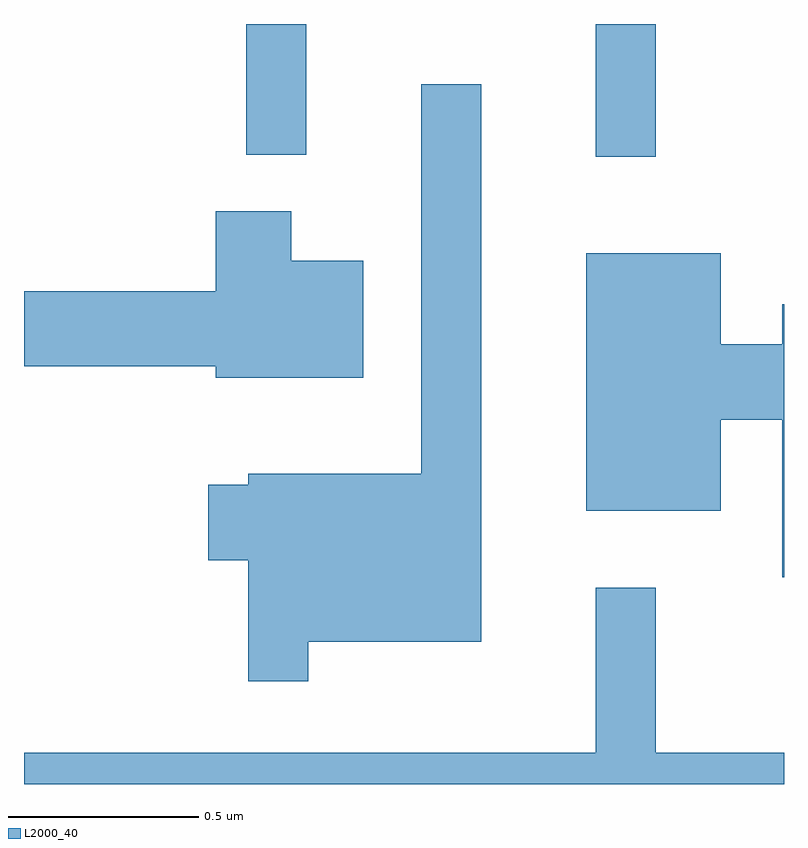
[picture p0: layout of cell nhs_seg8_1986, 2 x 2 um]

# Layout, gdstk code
import gdstk
lib = gdstk.Library(unit=1e-6, precision=1e-09)
def R(c, l, rs):  # rectangles x0, y0, x1, y1
    for r in rs: c.add(gdstk.rectangle(r[:2], r[2:], *l))
def P(c, l, *ps):  # polygons
    for p in ps: c.add(gdstk.Polygon(p, *l))
L2000_40 = (2000, 40)

nhs_seg8_1986 = lib.new_cell('nhs_seg8_1986')
R(nhs_seg8_1986, L2000_40, [(201.116,1875.993,201.274,1876.342), (200.196,1875.998,200.354,1876.342)])
P(nhs_seg8_1986, L2000_40, [(200.359,1874.716),(200.814,1874.716),(200.814,1876.183),(200.656,1876.183),(200.656,1875.159),(200.201,1875.159),(200.201,1875.129),(200.096,1875.129),(200.096,1874.931),(200.201,1874.931),(200.201,1874.613),(200.359,1874.613)],
  [(200.504,1875.719),(200.314,1875.719),(200.314,1875.849),(200.116,1875.849),(200.116,1875.639),(199.611,1875.639),(199.611,1875.441),(200.116,1875.441),(200.116,1875.411),(200.504,1875.411)],
  [(201.611,1875.604),(201.606,1875.604),(201.606,1875.499),(201.444,1875.499),(201.444,1875.739),(201.091,1875.739),(201.091,1875.061),(201.444,1875.061),(201.444,1875.301),(201.606,1875.301),(201.606,1874.886),(201.611,1874.886)],
  [(201.611,1874.424),(201.274,1874.424),(201.274,1874.858),(201.116,1874.858),(201.116,1874.424),(199.611,1874.424),(199.611,1874.342),(201.611,1874.342)])

lib.write_gds('nhs_seg8_1986.gds')
